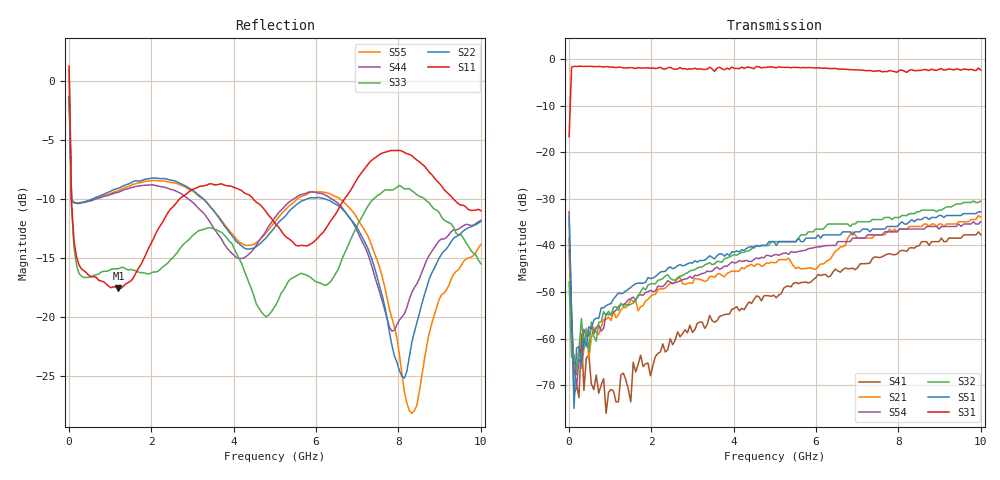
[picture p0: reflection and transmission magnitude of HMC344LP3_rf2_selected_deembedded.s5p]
!Hittite Microwave Corporation
!12 Elizabeth Drive
!Chelmsford, MA 01824
!Tel: 978-250-3343
!Fax: 978-250-3373
!Device: HMC344LP3, DC-8 GHz GaAs MMIC SP4T Non-Reflective Switch in Leadless LP3 SMT Package
!Misc: Room Temp Vctl=-5V Port1=RFC, Port2=RF1, Port3=RF2, Port4=RF3, Port5=RF4, RF2 ON.
# MHZ S MA R 50
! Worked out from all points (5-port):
!   168 points, 10 MHz to 10 GHz, reference 50 ohm
!   strongest paths, dB at 10 MHz, 2.522 GHz, 5.035 GHz, 7.547 GHz, 10 GHz:
!     S31: -16.6, -2.0, -1.8, -2.5, -2.3
!     S51: -34.0, -45.0, -40.0, -36.5, -32.8
!     S32: -47.8, -47.4, -39.2, -34.4, -30.5
!     S54: -32.8, -48.1, -41.9, -37.7, -34.9
!     S21: -40.9, -48.2, -43.7, -37.7, -34.0
!     S41: -38.4, -61.3, -51.2, -42.6, -37.7
!   lowest |S11| = -17.6 dB at 1.206 GHz (marker M1), VSWR 1.30, Z = 52.3 - j13.4 ohm
!   |S11| at or under -10 dB: 67.77 MHz to 2.69 GHz (2.623 GHz wide, 190 % of centre); 4.477 GHz to 6.69 GHz (2.213 GHz wide, 39.6 % of centre); 9.334 GHz to end of sweep
